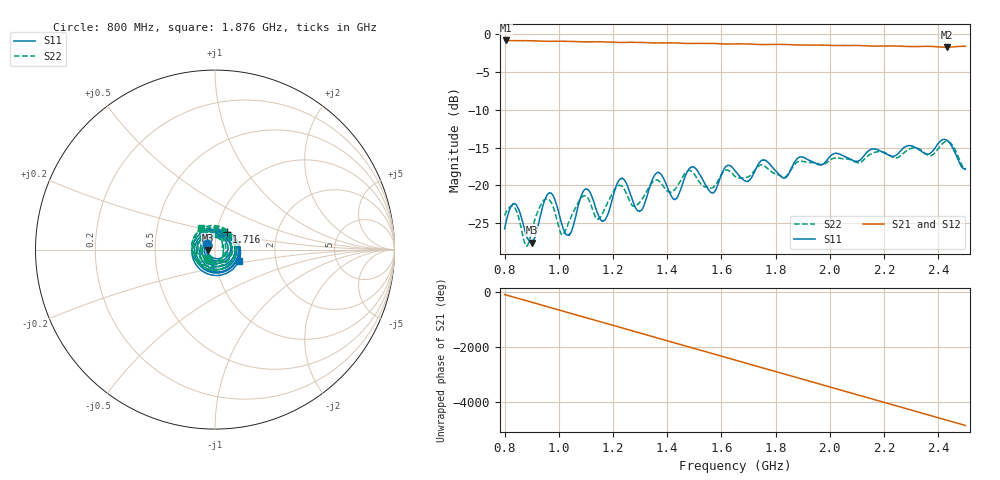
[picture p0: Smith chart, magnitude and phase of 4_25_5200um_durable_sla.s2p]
!Keysight Technologies N9950B: A.12.38
!Date: Tuesday, 25 April 2023 12:11:57
!Timezone: (UTC-06:00) Central Time (US & Canada)
!Model: N9950B
!Serial: MY61131330
!GPS Latitude:
!GPS Longitude:
!GPS TimeStamp: 0001-01-01 00:00:00Z
!GPS Seconds Since Last Read: 0
!CHECKSUM:0754912636
!Correction: S11(Rdy)S21(Rdy)S12(Rdy)S22(Rdy)
!S2P File: Measurements:S11,S21,S12,S22:
# Hz S DB R 50
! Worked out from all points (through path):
!   1001 points, 800 MHz to 2.5 GHz, reference 50 ohm
!   highest |S21| = -0.88 dB at 803.4 MHz (marker M1); lowest = -1.8 dB at 2.43 GHz (marker M2)
!   group delay of S21, straight-line fit = 7.77 ns
!   lowest |S11| = -27.6 dB at 900.3 MHz (marker M3), VSWR 1.09, Z = 46 - j0.455 ohm
!   |S11| at or under -10 dB: start of sweep to end of sweep
!   |S22| runs from -28.0 to -14.2 dB; largest |S21 - S12| = 0.0048
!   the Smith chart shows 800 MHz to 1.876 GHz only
!   S11 on the Smith chart (normalised r, x): 800 MHz: 0.92, +0.06; 1.716 GHz: 1.12, +0.22; 1.876 GHz: 1.30, -0.17
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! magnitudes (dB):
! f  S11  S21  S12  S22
! 800 MHz  -25.7  -0.9  -0.9  -24.0
! 803.4 MHz  -25.1  -0.9  -0.9  -23.7
! 839.1 MHz  -22.5  -0.9  -0.9  -23.0
! 878.2 MHz  -26.3  -0.9  -0.9  -28.0
! 900.3 MHz  -27.6  -0.9  -0.9  -26.0
! 961.5 MHz  -21.1  -1.0  -1.0  -21.8
! 1.033 GHz  -26.6  -1.0  -1.0  -25.2
! 1.084 GHz  -21.2  -1.1  -1.1  -21.6
! 1.165 GHz  -24.7  -1.1  -1.1  -23.3
! 1.235 GHz  -19.1  -1.1  -1.1  -20.2
! 1.3 GHz  -23.4  -1.1  -1.2  -22.2
! 1.368 GHz  -18.3  -1.2  -1.2  -19.4
! 1.427 GHz  -21.9  -1.2  -1.2  -20.6
! 1.488 GHz  -17.6  -1.3  -1.3  -18.1
! 1.565 GHz  -21.0  -1.3  -1.3  -20.3
! 1.65 GHz  -18.1  -1.3  -1.3  -18.8
! 1.716 GHz  -18.6  -1.4  -1.4  -18.3
! 1.876 GHz  -16.6  -1.5  -1.5  -17.0
! 1.934 GHz  -16.9  -1.5  -1.5  -17.0
! 2.218 GHz  -16.0  -1.6  -1.6  -16.0
! 2.43 GHz  -14.0  -1.8  -1.8  -14.2
! 2.5 GHz  -17.8  -1.7  -1.7  -18.0
